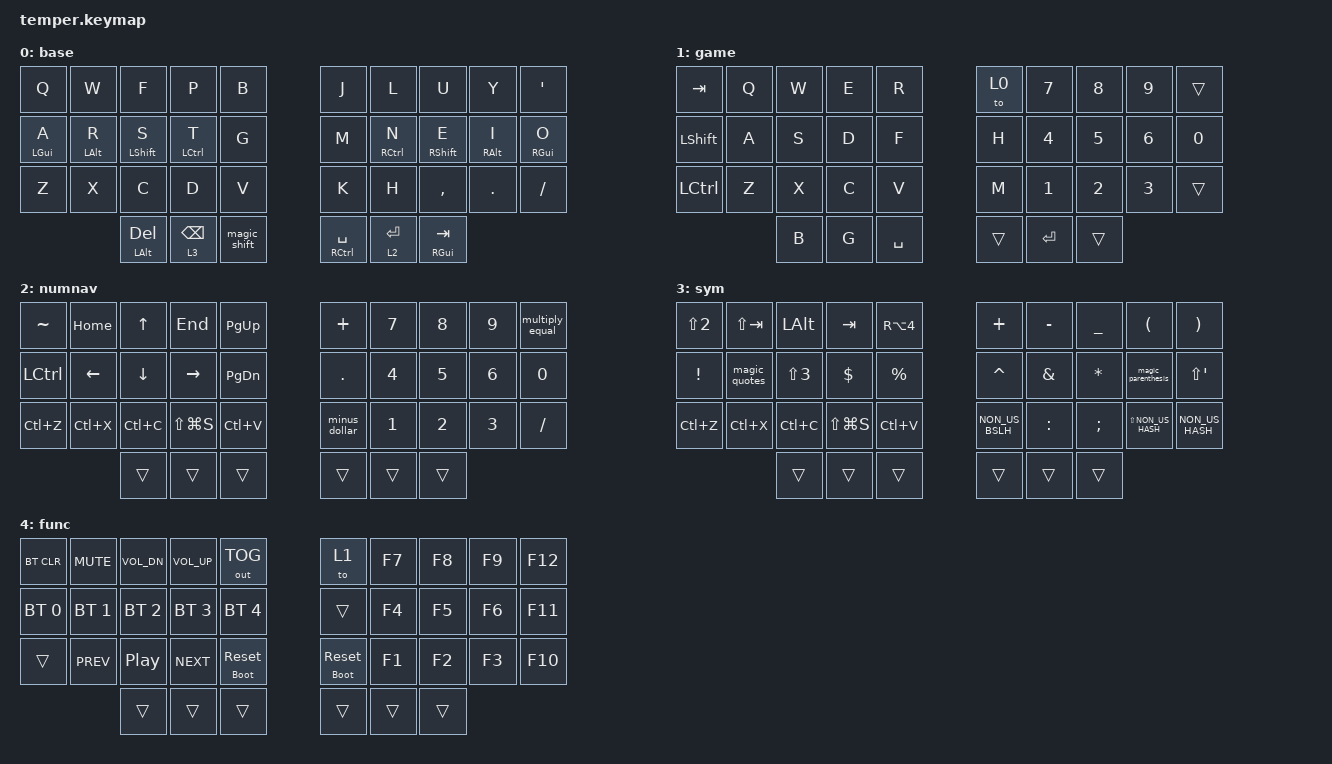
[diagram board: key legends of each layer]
/*
 * Copyright (c) 2020 The ZMK Contributors
 *
 * SPDX-License-Identifier: MIT
 */

#include <behaviors.dtsi>
#include <dt-bindings/zmk/bt.h>
#include <dt-bindings/zmk/keys.h>
#include <dt-bindings/zmk/outputs.h>

#define DEFAULT 0
#define GAME 1
#define NUM 2
#define NAV 3
#define FUN 4

&lt {
    flavor = "balanced";
    quick-tap-ms = <200>;
};

/ {
    conditional_layers {
        compatible = "zmk,conditional-layers";

        FUNC_LAYER {
            if-layers = <2 3>;
            then-layer = <4>;
        };
    };

    behaviors {
        HRMl: HRMl {
            compatible = "zmk,behavior-hold-tap";
            label = "HRML";
            bindings = <&kp>, <&kp>;

            #binding-cells = <2>;
            tapping-term-ms = <280>;
            require-prior-idle-ms = <190>;
            quick-tap-ms = <175>;
            flavor = "balanced";
            hold-trigger-key-positions = <30 30 31 32 33 34 35 5 6 7 8 9 15 16 17 18 19 25 26 27 28 29>;
            hold-trigger-on-release;
        };

        HRMr: HRMr {
            compatible = "zmk,behavior-hold-tap";
            label = "HRMR";
            bindings = <&kp>, <&kp>;

            #binding-cells = <2>;
            tapping-term-ms = <280>;
            require-prior-idle-ms = <190>;
            quick-tap-ms = <175>;
            flavor = "balanced";
            hold-trigger-on-release;
            hold-trigger-key-positions = <30 31 32 33 34 35 0 1 2 3 4 10 11 12 13 14 20 21 22 23 24>;
        };

        skquick: skquick {
            compatible = "zmk,behavior-sticky-key";
            label = "SKQUICK";
            bindings = <&kp>;
            #binding-cells = <1>;
            release-after-ms = <1000>;
            quick-release;
        };

        sticky_shift: sticky_shift {
            compatible = "zmk,behavior-hold-tap";
            label = "STICKY_SHIFT";
            bindings = <&kp>, <&skquick>;

            #binding-cells = <2>;
            tapping-term-ms = <180>;
        };

        magic_shift: magic_shift {
            compatible = "zmk,behavior-mod-morph";
            label = "MAGIC_SHIFT";
            bindings = <&sticky_shift LEFT_SHIFT LEFT_SHIFT>, <&caps_word>;

            #binding-cells = <0>;
            mods = <(MOD_LSFT)>;
        };

        reset_bootloader: reset_bootloader {
            compatible = "zmk,behavior-hold-tap";
            label = "RESET_BOOTLOADER";
            bindings = <&bootloader>, <&sys_reset>;

            #binding-cells = <2>;
            flavor = "tap-preferred";
            tapping-term-ms = <500>;
        };

        minus_dollar: minus_dollar {
            compatible = "zmk,behavior-mod-morph";
            label = "MINUS_DOLLAR";
            bindings = <&kp KP_SUBTRACT>, <&kp DOLLAR>;

            #binding-cells = <0>;
            mods = <(MOD_LSFT)>;
        };

        multiply_equal: multiply_equal {
            compatible = "zmk,behavior-mod-morph";
            label = "MULTIPLY_EQUAL";
            bindings = <&kp KP_MULTIPLY>, <&kp EQUAL>;

            #binding-cells = <0>;
            mods = <(MOD_LSFT)>;
        };
    };

    combos {
        compatible = "zmk,combos";

        escape {
            bindings = <&kp ESCAPE>;
            key-positions = <0 1>;
            require-prior-idle-ms = <150>;
            layers = <0 1>;
        };

        CAPSLCK {
            bindings = <&kp CAPSLOCK>;
            key-positions = <12 17>;
            require-prior-idle-ms = <150>;
            layers = <0>;
        };

        CAPSWRD {
            bindings = <&caps_word>;
            key-positions = <32 33>;
            layers = <0>;
            require-prior-idle-ms = <100>;
        };

        copy {
            bindings = <&kp LC(C)>;
            key-positions = <22 21>;
            require-prior-idle-ms = <100>;
            layers = <0>;
        };

        paste {
            bindings = <&kp LC(V)>;
            key-positions = <23 22>;
            require-prior-idle-ms = <100>;
            layers = <0>;
        };

        cut {
            bindings = <&kp LC(X)>;
            key-positions = <20 21>;
            require-prior-idle-ms = <150>;
            layers = <0>;
        };

        bootloader {
            bindings = <&bootloader>;
            key-positions = <0 1 2 3 10 11 13 12>;
        };
    };

    macros {
        magic_parenthesis: magic_parenthesis {
            compatible = "zmk,behavior-macro";
            #binding-cells = <0>;
            bindings = <&kp LEFT_PARENTHESIS &kp RIGHT_PARENTHESIS &kp LEFT>;
            label = "MAGIC_PARENTHESIS";
        };

        magic_quotes: magic_quotes {
            compatible = "zmk,behavior-macro";
            #binding-cells = <0>;
            bindings = <&kp LS(NUMBER_2) &kp LS(NUMBER_2) &kp LEFT>;
            label = "MAGIC_QUOTES";
        };
    };

    keymap {
        compatible = "zmk,keymap";

        COLEMAK-DH {
            bindings = <
&kp Q             &kp W             &kp F                  &kp P            &kp B         &kp J              &kp L          &kp U                &kp Y              &kp APOS
&HRMl LEFT_GUI A  &HRMl LEFT_ALT R  &HRMl LEFT_SHIFT S     &HRMl LCTRL T    &kp G         &kp M              &HRMr RCTRL N  &HRMr RIGHT_SHIFT E  &HRMr RIGHT_ALT I  &HRMr RIGHT_GUI O
&kp Z             &kp X             &kp C                  &kp D            &kp V         &kp K              &kp H          &kp COMMA            &kp PERIOD         &kp SLASH
                                    &HRMl LEFT_ALT DELETE  &lt 3 BACKSPACE  &magic_shift  &HRMr RCTRL SPACE  &lt 2 ENTER    &HRMr RIGHT_GUI TAB
            >;

            label = "base";
        };

        GAME_LAYER {
            bindings = <
&kp TAB    &kp Q  &kp W  &kp E  &kp R      &to 0   &kp N7        &kp N8        &kp N9  &trans
&kp LSHFT  &kp A  &kp S  &kp D  &kp F      &kp H   &kp N4        &kp N5        &kp N6  &kp N0
&kp LCTRL  &kp Z  &kp X  &kp C  &kp V      &kp M   &kp NUMBER_1  &kp NUMBER_2  &kp N3  &trans
                  &kp B  &kp G  &kp SPACE  &trans  &kp ENTER     &trans
            >;

            label = "game";
        };

        NUM_NAV_LAYER {
            bindings = <
&kp TILDE  &kp HOME   &kp UP_ARROW  &kp END        &kp PG_UP  &kp PLUS       &kp N7  &kp N8  &kp N9  &multiply_equal
&kp LCTRL  &kp LEFT   &kp DOWN      &kp RIGHT      &kp PG_DN  &kp DOT        &kp N4  &kp N5  &kp N6  &kp N0
&kp LC(Z)  &kp LC(X)  &kp LC(C)     &kp LS(LG(S))  &kp LC(V)  &minus_dollar  &kp N1  &kp N2  &kp N3  &kp SLASH
                      &trans        &trans         &trans     &trans         &trans  &trans
            >;

            label = "numnav";
        };

        SYMBOLS_LAYER {
            bindings = <
&kp LS(NUMBER_2)  &kp LS(TAB)    &kp LEFT_ALT      &kp TAB        &kp RA(NUMBER_4)  &kp PLUS         &kp MINUS      &kp UNDERSCORE  &kp LEFT_PARENTHESIS  &kp RIGHT_PARENTHESIS
&kp EXCLAMATION   &magic_quotes  &kp LS(NUMBER_3)  &kp DOLLAR     &kp PERCENT       &kp CARET        &kp AMPERSAND  &kp ASTERISK    &magic_parenthesis    &kp LS(SQT)
&kp LC(Z)         &kp LC(X)      &kp LC(C)         &kp LS(LG(S))  &kp LC(V)         &kp NON_US_BSLH  &kp COLON      &kp SEMICOLON   &kp LS(NON_US_HASH)   &kp NON_US_HASH
                                 &trans            &trans         &trans            &trans           &trans         &trans
            >;

            label = "sym";
        };

        FUNC_LAYER {
            bindings = <
&bt BT_CLR    &kp C_MUTE    &kp C_VOL_DN  &kp C_VOL_UP  &out OUT_TOG           &to 1                  &kp F7  &kp F8  &kp F9  &kp F12
&bt BT_SEL 0  &bt BT_SEL 1  &bt BT_SEL 2  &bt BT_SEL 3  &bt BT_SEL 4           &trans                 &kp F4  &kp F5  &kp F6  &kp F11
&trans        &kp C_PREV    &kp C_PP      &kp C_NEXT    &reset_bootloader 0 0  &reset_bootloader 0 0  &kp F1  &kp F2  &kp F3  &kp F10
                            &trans        &trans        &trans                 &trans                 &trans  &trans
            >;

            label = "func";
        };
    };
};
